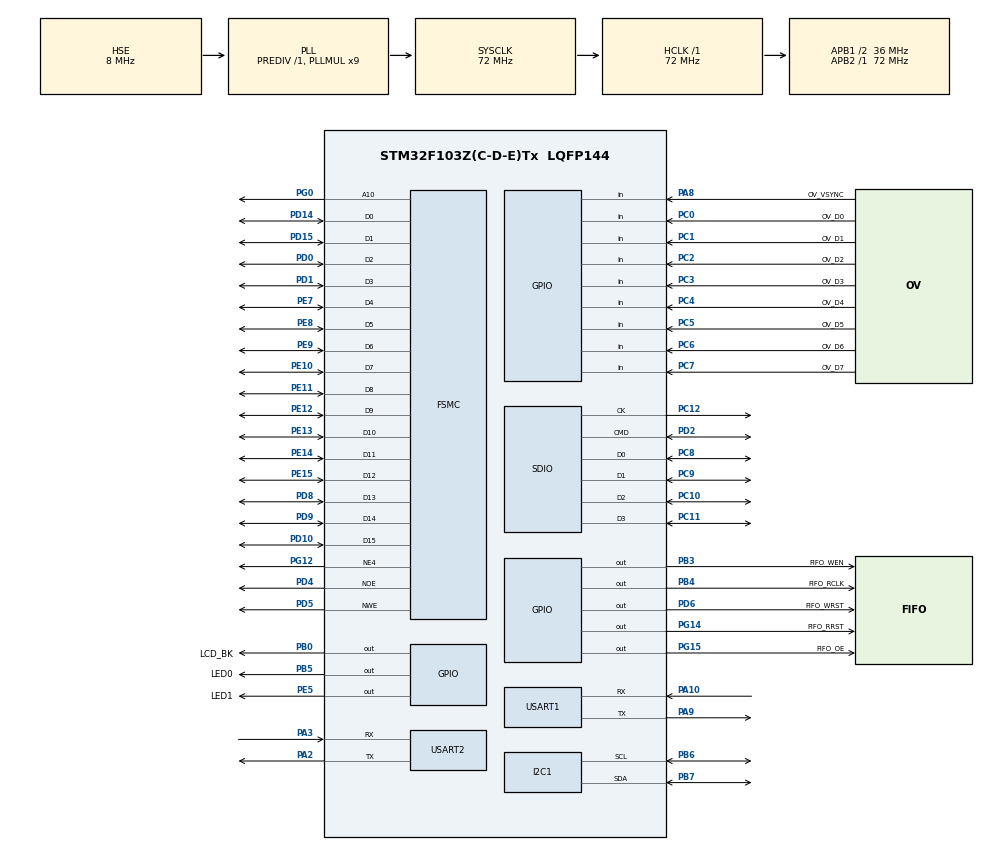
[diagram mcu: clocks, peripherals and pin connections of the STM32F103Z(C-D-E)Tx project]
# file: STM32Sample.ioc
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Dma.Request0=SDIO
Dma.SDIO.0.Direction=DMA_PERIPH_TO_MEMORY
Dma.SDIO.0.Instance=DMA2_Channel4
Dma.SDIO.0.MemDataAlignment=DMA_MDATAALIGN_WORD
Dma.SDIO.0.MemInc=DMA_MINC_ENABLE
Dma.SDIO.0.Mode=DMA_NORMAL
Dma.SDIO.0.PeriphDataAlignment=DMA_PDATAALIGN_WORD
Dma.SDIO.0.PeriphInc=DMA_PINC_DISABLE
Dma.SDIO.0.Priority=DMA_PRIORITY_LOW
FATFS._CODE_PAGE=936
FATFS._USE_LFN=2
FATFS._VOLUMES=2
FREERTOS.Tasks01=ledTask,0,128,StartDefaultTask,Default,NULL,Dynamic,NULL,NULL;lcdTask,-3,128,StartLCDTask,Default,NULL,Dynamic,NULL,NULL
FREERTOS.configUSE_NEWLIB_REENTRANT=1
FSMC.AddressSetupTime1=0x1
FSMC.BusTurnAroundDuration1=0x0
FSMC.DataSetupTime1=0xf
FSMC.ExtendedAddressSetupTime1=0x0
FSMC.ExtendedBusTurnAroundDuration1=0x0
FSMC.ExtendedDataSetupTime1=0x3
FSMC.ExtendedMode1=FSMC_EXTENDED_MODE_ENABLE
Mcu.Family=STM32F1
Mcu.Name=STM32F103Z(C-D-E)Tx
Mcu.Package=LQFP144
NVIC.DMA2_Channel4_5_IRQn=true\:5\:0\:false\:false\:true\:true\:false\:true\:true
NVIC.PriorityGroup=NVIC_PRIORITYGROUP_4
NVIC.SDIO_IRQn=true\:5\:0\:true\:false\:true\:true\:true\:true\:true
NVIC.TIM1_UP_IRQn=true\:15\:0\:false\:false\:true\:false\:false\:true\:true
NVIC.TimeBase=TIM1_UP_IRQn
NVIC.TimeBaseIP=TIM1
OSC_IN.Mode=HSE-External-Oscillator
OSC_IN.Signal=RCC_OSC_IN
OSC_OUT.Mode=HSE-External-Oscillator
OSC_OUT.Signal=RCC_OSC_OUT
PA10.Mode=Asynchronous
PA10.Signal=USART1_RX
PA13.Mode=Serial_Wire
PA13.Signal=SYS_JTMS-SWDIO
PA14.Mode=Serial_Wire
PA14.Signal=SYS_JTCK-SWCLK
PA2.Mode=Asynchronous
PA2.Signal=USART2_TX
PA3.Mode=Asynchronous
PA3.Signal=USART2_RX
PA8.GPIO_Label=OV_VSYNC
PA8.GPIO_PuPd=GPIO_NOPULL
PA8.Signal=GPIO_Input
PA9.Mode=Asynchronous
PA9.Signal=USART1_TX
PB0.GPIO_Label=LCD_BK
PB0.GPIO_PuPd=GPIO_PULLUP
PB0.Signal=GPIO_Output
PB3.GPIO_Label=FIFO_WEN
PB3.GPIO_ModeDefaultOutputPP=GPIO_MODE_OUTPUT_PP
PB3.GPIO_PuPd=GPIO_NOPULL
PB3.Signal=GPIO_Output
PB4.GPIO_Label=FIFO_RCLK
PB4.GPIO_ModeDefaultOutputPP=GPIO_MODE_OUTPUT_PP
PB4.GPIO_PuPd=GPIO_NOPULL
PB4.Signal=GPIO_Output
PB5.GPIO_Label=LED0
PB5.Signal=GPIO_Output
PB6.Mode=I2C
PB6.Signal=I2C1_SCL
PB7.Mode=I2C
PB7.Signal=I2C1_SDA
PC0.GPIO_Label=OV_D0
PC0.Signal=GPIO_Input
PC1.GPIO_Label=OV_D1
PC1.Signal=GPIO_Input
PC10.Mode=SD_4_bits_Wide_bus
PC10.Signal=SDIO_D2
PC11.Mode=SD_4_bits_Wide_bus
PC11.Signal=SDIO_D3
PC12.Mode=SD_4_bits_Wide_bus
PC12.Signal=SDIO_CK
PC2.GPIO_Label=OV_D2
PC2.Signal=GPIO_Input
PC3.GPIO_Label=OV_D3
PC3.Signal=GPIO_Input
PC4.GPIO_Label=OV_D4
PC4.Signal=GPIO_Input
PC5.GPIO_Label=OV_D5
PC5.Signal=GPIO_Input
PC6.GPIO_Label=OV_D6
PC6.Signal=GPIO_Input
PC7.GPIO_Label=OV_D7
PC7.Signal=GPIO_Input
PC8.Mode=SD_4_bits_Wide_bus
PC8.Signal=SDIO_D0
PC9.Mode=SD_4_bits_Wide_bus
PC9.Signal=SDIO_D1
PD0.Signal=FSMC_D2_DA2
PD1.Signal=FSMC_D3_DA3
PD10.Signal=FSMC_D15_DA15
PD14.Signal=FSMC_D0_DA0
PD15.Signal=FSMC_D1_DA1
PD2.Mode=SD_4_bits_Wide_bus
PD2.Signal=SDIO_CMD
PD4.Signal=FSMC_NOE
PD5.Signal=FSMC_NWE
PD6.GPIO_Label=FIFO_WRST
PD6.Signal=GPIO_Output
PD8.Signal=FSMC_D13_DA13
PD9.Signal=FSMC_D14_DA14
PE10.Signal=FSMC_D7_DA7
PE11.Signal=FSMC_D8_DA8
PE12.Signal=FSMC_D9_DA9
PE13.Signal=FSMC_D10_DA10
PE14.Signal=FSMC_D11_DA11
PE15.Signal=FSMC_D12_DA12
PE5.GPIO_Label=LED1
PE5.Signal=GPIO_Output
PE7.Signal=FSMC_D4_DA4
PE8.Signal=FSMC_D5_DA5
PE9.Signal=FSMC_D6_DA6
PG0.Signal=FSMC_A10
PG12.Mode=NorPsramChipSelect4_1
PG12.Signal=FSMC_NE4
PG14.GPIO_Label=FIFO_RRST
PG14.Signal=GPIO_Output
PG15.GPIO_Label=FIFO_OE
PG15.Signal=GPIO_Output
ProjectManager.HeapSize=0x200
ProjectManager.StackSize=0x1000
ProjectManager.TargetToolchain=STM32CubeIDE
RCC.AHBFreq_Value=72000000
RCC.APB1CLKDivider=RCC_HCLK_DIV2
RCC.APB1Freq_Value=36000000
RCC.APB1TimFreq_Value=72000000
RCC.APB2Freq_Value=72000000
RCC.APB2TimFreq_Value=72000000
RCC.HCLKFreq_Value=72000000
RCC.PLLMUL=RCC_PLL_MUL9
RCC.PLLSourceVirtual=RCC_PLLSOURCE_HSE
RCC.SYSCLKFreq_VALUE=72000000
RCC.SYSCLKSource=RCC_SYSCLKSOURCE_PLLCLK
RCC.USBFreq_Value=72000000
SDIO.ClockDiv=6
SDIO.HardwareFlowControl=SDIO_HARDWARE_FLOW_CONTROL_DISABLE
SH.FSMC_A10.0=FSMC_A10,A10_1
SH.FSMC_D0_DA0.0=FSMC_D0,16b-d1
SH.FSMC_D10_DA10.0=FSMC_D10,16b-d1
SH.FSMC_D11_DA11.0=FSMC_D11,16b-d1
SH.FSMC_D12_DA12.0=FSMC_D12,16b-d1
SH.FSMC_D13_DA13.0=FSMC_D13,16b-d1
SH.FSMC_D14_DA14.0=FSMC_D14,16b-d1
SH.FSMC_D15_DA15.0=FSMC_D15,16b-d1
SH.FSMC_D1_DA1.0=FSMC_D1,16b-d1
SH.FSMC_D2_DA2.0=FSMC_D2,16b-d1
SH.FSMC_D3_DA3.0=FSMC_D3,16b-d1
SH.FSMC_D4_DA4.0=FSMC_D4,16b-d1
SH.FSMC_D5_DA5.0=FSMC_D5,16b-d1
SH.FSMC_D6_DA6.0=FSMC_D6,16b-d1
SH.FSMC_D7_DA7.0=FSMC_D7,16b-d1
SH.FSMC_D8_DA8.0=FSMC_D8,16b-d1
SH.FSMC_D9_DA9.0=FSMC_D9,16b-d1
SH.FSMC_NOE.0=FSMC_NOE,Lcd1
SH.FSMC_NWE.0=FSMC_NWE,Lcd1
USART1.VirtualMode=VM_ASYNC
USART2.VirtualMode=VM_ASYNC
VP_FATFS_VS_SDIO.Mode=SDIO
VP_FREERTOS_VS_CMSIS_V1.Mode=CMSIS_V1
VP_SYS_VS_tim1.Mode=TIM1
board=custom

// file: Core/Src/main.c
/* USER CODE BEGIN Header */
/**
  ******************************************************************************
  * @file           : main.c
  * @brief          : Main program body
  ******************************************************************************
  * @attention
  *
  * Copyright (c) 2022 STMicroelectronics.
  * All rights reserved.
  *
  * This software is licensed under terms that can be found in the LICENSE file
  * in the root directory of this software component.
  * If no LICENSE file comes with this software, it is provided AS-IS.
  *
  ******************************************************************************
  */
/* USER CODE END Header */
#include "main.h"
#include "cmsis_os.h"
#include "dma.h"
#include "fatfs.h"
#include "i2c.h"
#include "sdio.h"
#include "usart.h"
#include "gpio.h"
#include "fsmc.h"

/* USER CODE BEGIN Includes */
#include "retarget.h"
#include "stdio.h"
#include "ili9341.h"
#include "app_main.h"
/* USER CODE END Includes */

void SystemClock_Config(void);
void MX_FREERTOS_Init(void);

int main(void)
{

  /* MCU Configuration--------------------------------------------------------*/

  /* Reset of all peripherals, Initializes the Flash interface and the Systick. */
  HAL_Init();

  /* Configure the system clock */
  SystemClock_Config();

  /* Initialize all configured peripherals */
  MX_GPIO_Init();
  MX_USART1_UART_Init();
  MX_FSMC_Init();
  MX_I2C1_Init();
  MX_USART2_UART_Init();
  MX_DMA_Init();
  MX_SDIO_SD_Init();
  MX_FATFS_Init();
  /* USER CODE BEGIN 2 */
  RetargetInit(&huart2);//support printf
  printf("Welcome AlientekSample \r\n");
  lcdInit();
  lcdTest();

  app_init();
  /* USER CODE END 2 */

  /* Call init function for freertos objects (in freertos.c) */
  MX_FREERTOS_Init();

  /* Start scheduler */
  osKernelStart();

  /* We should never get here as control is now taken by the scheduler */
  /* Infinite loop */
  while (1)
  {

  }
}

void SystemClock_Config(void)
{
  RCC_OscInitTypeDef RCC_OscInitStruct = {0};
  RCC_ClkInitTypeDef RCC_ClkInitStruct = {0};

  /** Initializes the RCC Oscillators according to the specified parameters
  * in the RCC_OscInitTypeDef structure.
  */
  RCC_OscInitStruct.OscillatorType = RCC_OSCILLATORTYPE_HSE;
  RCC_OscInitStruct.HSEState = RCC_HSE_ON;
  RCC_OscInitStruct.HSEPredivValue = RCC_HSE_PREDIV_DIV1;
  RCC_OscInitStruct.HSIState = RCC_HSI_ON;
  RCC_OscInitStruct.PLL.PLLState = RCC_PLL_ON;
  RCC_OscInitStruct.PLL.PLLSource = RCC_PLLSOURCE_HSE;
  RCC_OscInitStruct.PLL.PLLMUL = RCC_PLL_MUL9;
  if (HAL_RCC_OscConfig(&RCC_OscInitStruct) != HAL_OK)
  {
    Error_Handler();
  }

  /** Initializes the CPU, AHB and APB buses clocks
  */
  RCC_ClkInitStruct.ClockType = RCC_CLOCKTYPE_HCLK|RCC_CLOCKTYPE_SYSCLK
                              |RCC_CLOCKTYPE_PCLK1|RCC_CLOCKTYPE_PCLK2;
  RCC_ClkInitStruct.SYSCLKSource = RCC_SYSCLKSOURCE_PLLCLK;
  RCC_ClkInitStruct.AHBCLKDivider = RCC_SYSCLK_DIV1;
  RCC_ClkInitStruct.APB1CLKDivider = RCC_HCLK_DIV2;
  RCC_ClkInitStruct.APB2CLKDivider = RCC_HCLK_DIV1;

  if (HAL_RCC_ClockConfig(&RCC_ClkInitStruct, FLASH_LATENCY_2) != HAL_OK)
  {
    Error_Handler();
  }
}

void HAL_TIM_PeriodElapsedCallback(TIM_HandleTypeDef *htim)
{
  if (htim->Instance == TIM1) {
    HAL_IncTick();
  }
}

void Error_Handler(void)
{
  __disable_irq();
  while (1)
  {
  }
}

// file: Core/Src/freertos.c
/* USER CODE BEGIN Header */
/**
  ******************************************************************************
  * File Name          : freertos.c
  * Description        : Code for freertos applications
  ******************************************************************************
  * @attention
  *
  * Copyright (c) 2022 STMicroelectronics.
  * All rights reserved.
  *
  * This software is licensed under terms that can be found in the LICENSE file
  * in the root directory of this software component.
  * If no LICENSE file comes with this software, it is provided AS-IS.
  *
  ******************************************************************************
  */
/* USER CODE END Header */

#include "FreeRTOS.h"
#include "task.h"
#include "main.h"
#include "cmsis_os.h"

osThreadId ledTaskHandle;
osThreadId lcdTaskHandle;

void StartDefaultTask(void const * argument);
void StartLCDTask(void const * argument);

void MX_FREERTOS_Init(void); /* (MISRA C 2004 rule 8.1) */

/* GetIdleTaskMemory prototype (linked to static allocation support) */
void vApplicationGetIdleTaskMemory( StaticTask_t **ppxIdleTaskTCBBuffer, StackType_t **ppxIdleTaskStackBuffer, uint32_t *pulIdleTaskStackSize );

/* USER CODE BEGIN GET_IDLE_TASK_MEMORY */
static StaticTask_t xIdleTaskTCBBuffer;
static StackType_t xIdleStack[configMINIMAL_STACK_SIZE];

void vApplicationGetIdleTaskMemory( StaticTask_t **ppxIdleTaskTCBBuffer, StackType_t **ppxIdleTaskStackBuffer, uint32_t *pulIdleTaskStackSize )
{
  *ppxIdleTaskTCBBuffer = &xIdleTaskTCBBuffer;
  *ppxIdleTaskStackBuffer = &xIdleStack[0];
  *pulIdleTaskStackSize = configMINIMAL_STACK_SIZE;
  /* place for user code */
}
/* USER CODE END GET_IDLE_TASK_MEMORY */

void MX_FREERTOS_Init(void) {

  /* Create the thread(s) */
  /* definition and creation of ledTask */
  osThreadDef(ledTask, StartDefaultTask, osPriorityNormal, 0, 128);
  ledTaskHandle = osThreadCreate(osThread(ledTask), NULL);

  /* definition and creation of lcdTask */
  osThreadDef(lcdTask, StartLCDTask, osPriorityIdle, 0, 128);
  lcdTaskHandle = osThreadCreate(osThread(lcdTask), NULL);

}

void StartDefaultTask(void const * argument)
{
  /* USER CODE BEGIN StartDefaultTask */
  /* Infinite loop */
  for(;;)
  {
	    HAL_GPIO_WritePin(LED0_GPIO_Port, LED0_Pin, GPIO_PIN_SET);
	    HAL_GPIO_WritePin(LED1_GPIO_Port, LED1_Pin, GPIO_PIN_RESET);
	    osDelay(500);
	    HAL_GPIO_WritePin(LED0_GPIO_Port, LED0_Pin, GPIO_PIN_RESET);
	    HAL_GPIO_WritePin(LED1_GPIO_Port, LED1_Pin, GPIO_PIN_SET);
	    osDelay(500);
  }
  /* USER CODE END StartDefaultTask */
}

void StartLCDTask(void const * argument)
{
  for(;;)
  {
    osDelay(1);
  }
}
